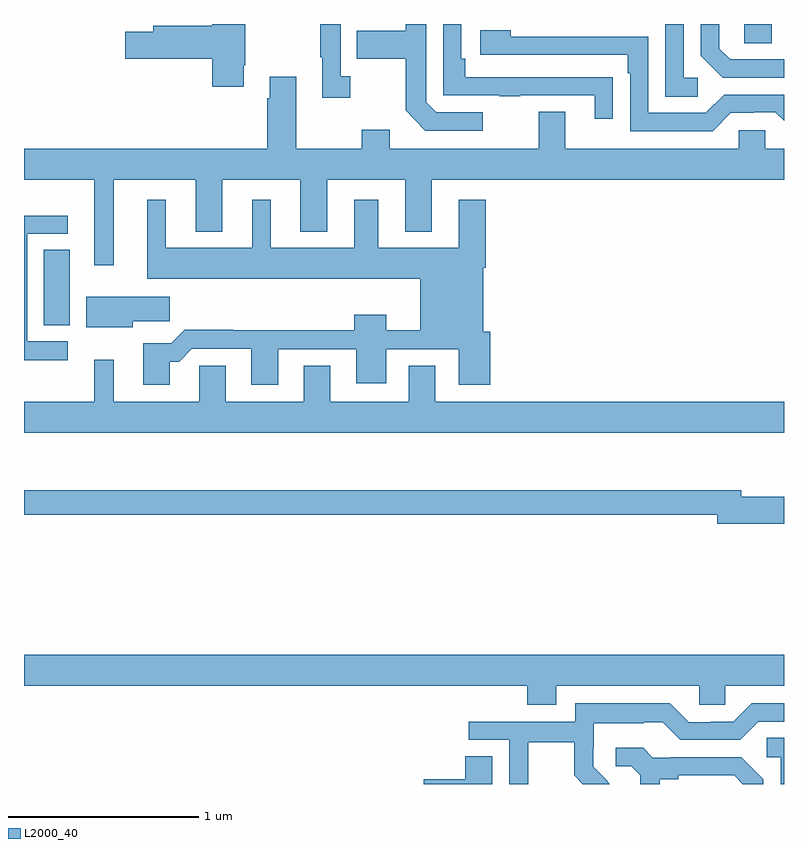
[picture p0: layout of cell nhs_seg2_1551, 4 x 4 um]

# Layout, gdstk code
import gdstk
lib = gdstk.Library(unit=1e-6, precision=1e-09)
def R(c, l, rs):  # rectangles x0, y0, x1, y1
    for r in rs: c.add(gdstk.rectangle(r[:2], r[2:], *l))
def P(c, l, *ps):  # polygons
    for p in ps: c.add(gdstk.Polygon(p, *l))
L2000_40 = (2000, 40)

nhs_seg2_1551 = lib.new_cell('nhs_seg2_1551')
R(nhs_seg2_1551, L2000_40, [(191.105,636.214,191.242,636.611), (194.79,637.699,194.935,637.8)])
P(nhs_seg2_1551, L2000_40, [(195,637.614),(194.716,637.614),(194.659,637.671),(194.659,637.8),(194.562,637.8),(194.562,637.634),(194.678,637.518),(195,637.518)],
  [(192.718,637.526),(192.666,637.526),(192.666,637.8),(192.558,637.8),(192.558,637.625),(192.569,637.625),(192.569,637.413),(192.718,637.413)],
  [(194.545,637.518),(194.472,637.518),(194.472,637.8),(194.376,637.8),(194.376,637.417),(194.545,637.417)],
  [(192.157,637.582),(192.165,637.582),(192.165,637.8),(191.99,637.8),(191.99,637.79),(191.681,637.79),(191.681,637.76),(191.532,637.76),(191.532,637.618),(191.99,637.618),(191.99,637.47),(192.157,637.47)],
  [(193.414,637.335),(193.17,637.335),(193.116,637.389),(193.116,637.8),(193.008,637.8),(193.008,637.765),(192.751,637.765),(192.751,637.618),(193.008,637.618),(193.008,637.345),(193.113,637.239),(193.414,637.239)],
  [(194.099,637.52),(193.997,637.52),(193.997,637.521),(193.322,637.521),(193.322,637.618),(193.302,637.618),(193.302,637.8),(193.206,637.8),(193.206,637.425),(193.501,637.425),(193.501,637.42),(193.613,637.42),(193.613,637.425),(194.003,637.425),(194.003,637.302),(194.099,637.302)],
  [(194.721,637.332),(194.84,637.332),(194.84,637.335),(194.955,637.335),(195,637.29),(195,637.428),(194.685,637.428),(194.589,637.332),(194.286,637.332),(194.286,637.734),(193.562,637.734),(193.562,637.768),(193.401,637.768),(193.401,637.638),(194.177,637.638),(194.177,637.541),(194.19,637.541),(194.19,637.236),(194.625,637.236)],
  [(191.473,636.98),(191.903,636.98),(191.903,636.707),(192.043,636.707),(192.043,636.98),(192.455,636.98),(192.455,636.707),(192.595,636.707),(192.595,636.98),(193.007,636.98),(193.007,636.707),(193.147,636.707),(193.147,636.98),(195,636.98),(195,637.144),(194.901,637.144),(194.901,637.242),(194.763,637.242),(194.763,637.144),(193.849,637.144),(193.849,637.339),(193.709,637.339),(193.709,637.144),(192.925,637.144),(192.925,637.243),(192.778,637.243),(192.778,637.144),(192.433,637.144),(192.433,637.522),(192.293,637.522),(192.293,637.409),(192.281,637.409),(192.281,637.144),(191,637.144),(191,636.98),(191.369,636.98),(191.369,636.531),(191.473,636.531)],
  [(191.767,636.023),(191.816,636.023),(191.883,636.09),(192.197,636.09),(192.197,635.901),(192.337,635.901),(192.337,636.087),(192.749,636.087),(192.749,635.909),(192.907,635.909),(192.907,636.087),(193.289,636.087),(193.289,635.901),(193.454,635.901),(193.454,636.18),(193.417,636.18),(193.417,636.518),(193.43,636.518),(193.43,636.874),(193.289,636.874),(193.289,636.622),(192.865,636.622),(192.865,636.874),(192.737,636.874),(192.737,636.622),(192.298,636.622),(192.298,636.874),(192.2,636.874),(192.2,636.622),(191.746,636.622),(191.746,636.874),(191.648,636.874),(191.648,636.458),(193.085,636.458),(193.085,636.188),(192.907,636.188),(192.907,636.271),(192.737,636.271),(192.737,636.188),(192.101,636.188),(192.101,636.191),(191.846,636.191),(191.776,636.121),(191.627,636.121),(191.627,635.901),(191.767,635.901)],
  [(191.23,636.129),(191.016,636.129),(191.016,636.696),(191.23,636.696),(191.23,636.792),(191,636.792),(191,636.031),(191.23,636.031)],
  [(191.572,636.235),(191.767,636.235),(191.767,636.364),(191.328,636.364),(191.328,636.203),(191.572,636.203)],
  [(195,635.812),(193.165,635.812),(193.165,636.002),(193.025,636.002),(193.025,635.812),(192.613,635.812),(192.613,636.002),(192.473,636.002),(192.473,635.812),(192.061,635.812),(192.061,636.002),(191.922,636.002),(191.922,635.812),(191.473,635.812),(191.473,636.034),(191.369,636.034),(191.369,635.812),(191,635.812),(191,635.648),(195,635.648)],
  [(195,635.313),(194.776,635.313),(194.776,635.347),(191,635.347),(191,635.218),(194.648,635.218),(194.648,635.171),(195,635.171)],
  [(193.801,634.316),(194.553,634.316),(194.553,634.218),(194.691,634.218),(194.691,634.316),(195,634.316),(195,634.48),(191,634.48),(191,634.316),(193.649,634.316),(193.649,634.217),(193.801,634.217)],
  [(193.653,634.02),(193.897,634.02),(193.897,633.845),(193.942,633.8),(194.084,633.8),(194.069,633.815),(194.07,633.816),(193.996,633.89),(193.996,633.987),(193.998,633.987),(193.998,634.121),(194.261,634.121),(194.261,634.125),(194.361,634.125),(194.454,634.032),(194.769,634.032),(194.865,634.128),(195,634.128),(195,634.224),(194.829,634.224),(194.733,634.128),(194.615,634.128),(194.615,634.125),(194.499,634.125),(194.399,634.225),(193.902,634.225),(193.902,634.128),(193.341,634.128),(193.341,634.032),(193.554,634.032),(193.554,633.8),(193.653,633.8)],
  [(195,634.043),(194.91,634.043),(194.91,633.942),(194.982,633.942),(194.982,633.8),(195,633.8)],
  [(194.347,633.824),(194.443,633.824),(194.443,633.846),(194.738,633.846),(194.784,633.8),(194.892,633.8),(194.892,633.826),(194.776,633.942),(194.404,633.942),(194.404,633.939),(194.31,633.939),(194.258,633.991),(194.115,633.991),(194.115,633.894),(194.196,633.894),(194.243,633.847),(194.243,633.8),(194.347,633.8)],
  [(193.465,633.947),(193.322,633.947),(193.322,633.824),(193.104,633.824),(193.104,633.8),(193.465,633.8)])

lib.write_gds('nhs_seg2_1551.gds')
